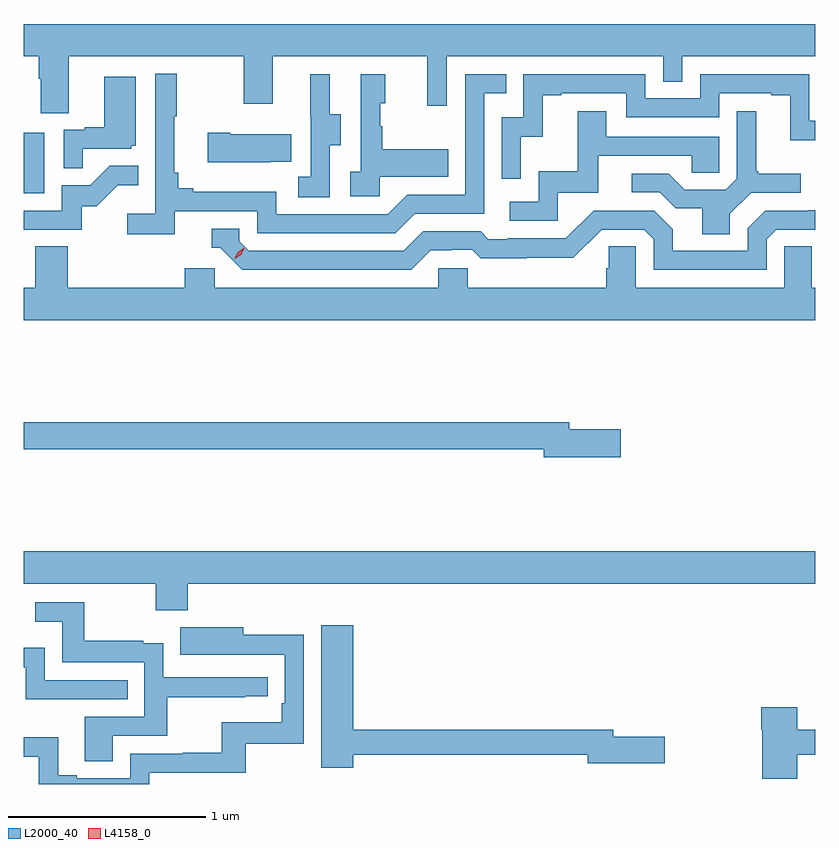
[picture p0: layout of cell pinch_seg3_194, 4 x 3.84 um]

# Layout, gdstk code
import gdstk
lib = gdstk.Library(unit=1e-6, precision=1e-09)
def R(c, l, rs):  # rectangles x0, y0, x1, y1
    for r in rs: c.add(gdstk.rectangle(r[:2], r[2:], *l))
def P(c, l, *ps):  # polygons
    for p in ps: c.add(gdstk.Polygon(p, *l))
L2000_40 = (2000, 40)
L4158_0 = (4158, 0)

pinch_seg3_194 = lib.new_cell('pinch_seg3_194')
R(pinch_seg3_194, L2000_40, [(974.348,733.524,974.452,733.831)])
P(pinch_seg3_194, L2000_40, [(974.575,734.216),(975.46,734.216),(975.46,733.977),(975.607,733.977),(975.607,734.216),(976.388,734.216),(976.388,733.968),(976.485,733.968),(976.485,734.216),(977.58,734.216),(977.58,734.089),(977.676,734.089),(977.676,734.216),(978.348,734.216),(978.348,734.38),(974.348,734.38),(974.348,734.216),(974.423,734.216),(974.423,734.104),(974.435,734.104),(974.435,733.93),(974.575,733.93)],
  [(975.11,733.434),(975.528,733.434),(975.528,733.323),(976.225,733.323),(976.324,733.422),(976.674,733.422),(976.674,734.031),(976.787,734.031),(976.787,734.127),(976.578,734.127),(976.578,733.518),(976.287,733.518),(976.188,733.419),(975.624,733.419),(975.624,733.531),(975.205,733.531),(975.205,733.55),(975.128,733.55),(975.128,733.627),(975.109,733.627),(975.109,733.915),(975.121,733.915),(975.121,734.128),(975.012,734.128),(975.012,733.42),(974.871,733.42),(974.871,733.318),(975.11,733.318)],
  [(976.86,733.811),(976.97,733.811),(976.97,734.019),(977.065,734.019),(977.065,734.031),(977.394,734.031),(977.394,733.908),(977.862,733.908),(977.862,734.031),(978.125,734.031),(978.125,734.019),(978.221,734.019),(978.221,733.793),(978.348,733.793),(978.348,733.891),(978.318,733.891),(978.318,734.127),(977.766,734.127),(977.766,734.004),(977.49,734.004),(977.49,734.127),(976.872,734.127),(976.872,733.908),(976.764,733.908),(976.764,733.599),(976.86,733.599)],
  [(975.894,733.768),(975.949,733.768),(975.949,733.923),(975.895,733.923),(975.895,734.125),(975.797,734.125),(975.797,733.911),(975.798,733.911),(975.798,733.607),(975.735,733.607),(975.735,733.504),(975.894,733.504)],
  [(976.146,733.607),(976.493,733.607),(976.493,733.747),(976.159,733.747),(976.159,733.862),(976.149,733.862),(976.149,733.98),(976.174,733.98),(976.174,734.125),(976.05,734.125),(976.05,733.634),(975.999,733.634),(975.999,733.509),(976.146,733.509)],
  [(974.645,733.749),(974.892,733.749),(974.892,733.764),(974.914,733.764),(974.914,734.113),(974.756,734.113),(974.756,733.858),(974.657,733.858),(974.657,733.845),(974.55,733.845),(974.55,733.651),(974.645,733.651)],
  [(977.917,733.42),(978.024,733.527),(978.274,733.527),(978.274,733.624),(978.061,733.624),(978.061,733.636),(978.049,733.636),(978.049,733.939),(977.952,733.939),(977.952,733.599),(977.895,733.542),(977.689,733.542),(977.608,733.623),(977.421,733.623),(977.421,733.53),(977.562,733.53),(977.642,733.45),(977.777,733.45),(977.777,733.318),(977.917,733.318)],
  [(977.046,733.527),(977.251,733.527),(977.251,733.713),(977.725,733.713),(977.725,733.629),(977.862,733.629),(977.862,733.809),(977.293,733.809),(977.293,733.939),(977.149,733.939),(977.149,733.636),(976.95,733.636),(976.95,733.482),(976.803,733.482),(976.803,733.386),(977.046,733.386)],
  [(975.593,733.685),(975.701,733.685),(975.701,733.822),(975.391,733.822),(975.391,733.83),(975.279,733.83),(975.279,733.682),(975.593,733.682)],
  [(974.64,733.458),(974.716,733.458),(974.823,733.565),(974.927,733.565),(974.927,733.664),(974.783,733.664),(974.685,733.566),(974.541,733.566),(974.541,733.437),(974.348,733.437),(974.348,733.341),(974.64,733.341)],
  [(976.405,733.236),(976.512,733.236),(976.512,733.239),(976.615,733.239),(976.657,733.197),(976.89,733.197),(976.89,733.199),(977.126,733.199),(977.268,733.341),(977.484,733.341),(977.532,733.293),(977.532,733.137),(978.102,733.137),(978.102,733.293),(978.15,733.341),(978.348,733.341),(978.348,733.439),(978.312,733.439),(978.312,733.437),(978.096,733.437),(978.006,733.347),(978.006,733.233),(977.629,733.233),(977.629,733.343),(977.535,733.437),(977.229,733.437),(977.088,733.296),(976.795,733.296),(976.795,733.293),(976.696,733.293),(976.657,733.332),(976.368,733.332),(976.269,733.233),(975.486,733.233),(975.438,733.281),(975.438,733.344),(975.299,733.344),(975.299,733.248),(975.342,733.248),(975.453,733.137),(976.306,733.137)],
  [(978.348,733.048),(978.331,733.048),(978.331,733.256),(978.192,733.256),(978.192,733.048),(977.442,733.048),(977.442,733.256),(977.305,733.256),(977.305,733.146),(977.291,733.146),(977.291,733.048),(976.593,733.048),(976.593,733.146),(976.443,733.146),(976.443,733.048),(975.312,733.048),(975.312,733.146),(975.161,733.146),(975.161,733.048),(974.57,733.048),(974.57,733.256),(974.405,733.256),(974.405,733.048),(974.348,733.048),(974.348,732.884),(978.348,732.884)],
  [(977.365,732.332),(977.104,732.332),(977.104,732.368),(974.348,732.368),(974.348,732.232),(976.976,732.232),(976.976,732.19),(977.365,732.19)],
  [(975.176,731.552),(978.348,731.552),(978.348,731.716),(974.348,731.716),(974.348,731.552),(975.016,731.552),(975.016,731.417),(975.176,731.417)],
  [(974.797,730.782),(975.074,730.782),(975.074,730.978),(975.467,730.978),(975.467,730.983),(975.58,730.983),(975.58,731.079),(975.054,731.079),(975.054,731.251),(974.951,731.251),(974.951,731.263),(974.653,731.263),(974.653,731.457),(974.407,731.457),(974.407,731.36),(974.542,731.36),(974.542,731.154),(974.958,731.154),(974.958,730.878),(974.657,730.878),(974.657,730.654),(974.797,730.654)],
  [(976.012,730.686),(977.198,730.686),(977.198,730.643),(977.587,730.643),(977.587,730.778),(977.326,730.778),(977.326,730.814),(976.012,730.814),(976.012,731.341),(975.851,731.341),(975.851,730.62),(976.012,730.62)],
  [(974.982,730.596),(975.469,730.596),(975.469,730.743),(975.762,730.743),(975.762,731.294),(975.457,731.294),(975.457,731.332),(975.139,731.332),(975.139,731.192),(975.353,731.192),(975.353,731.193),(975.666,731.193),(975.666,730.948),(975.653,730.948),(975.653,730.852),(975.348,730.852),(975.348,730.697),(975.151,730.697),(975.151,730.692),(974.886,730.692),(974.886,730.569),(974.617,730.569),(974.617,730.582),(974.521,730.582),(974.521,730.775),(974.348,730.775),(974.348,730.677),(974.424,730.677),(974.424,730.539),(974.982,730.539)],
  [(974.873,731.064),(974.454,731.064),(974.454,731.227),(974.348,731.227),(974.348,731.129),(974.358,731.129),(974.358,730.968),(974.873,730.968)],
  [(978.257,730.686),(978.348,730.686),(978.348,730.814),(978.257,730.814),(978.257,730.927),(978.074,730.927),(978.074,730.814),(978.079,730.814),(978.079,730.566),(978.257,730.566)])
P(pinch_seg3_194, L4158_0, [(975.415,733.194),(975.415,733.195),(975.431,733.228),(975.461,733.247),(975.462,733.247),(975.462,733.247),(975.446,733.214),(975.415,733.194)])

lib.write_gds('pinch_seg3_194.gds')
